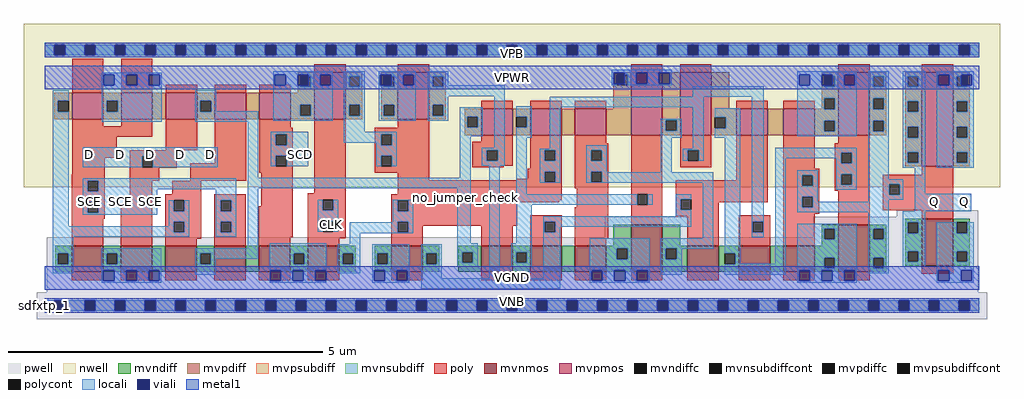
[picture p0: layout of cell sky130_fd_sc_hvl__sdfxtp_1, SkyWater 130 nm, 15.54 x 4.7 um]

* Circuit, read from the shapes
.subckt sky130_fd_sc_hvl__sdfxtp_1 CLK D SCD SCE VGND VNB VPB VPWR Q
XM1 VGND SCE n1 VNB sky130_fd_pr__nfet_g5v0d10v5 w=0.42 l=0.5
XM2 n2 D VGND VNB sky130_fd_pr__nfet_g5v0d10v5 w=0.42 l=0.5
XM3 n3 n1 n2 VNB sky130_fd_pr__nfet_g5v0d10v5 w=0.42 l=0.5
XM4 n4 SCE n3 VNB sky130_fd_pr__nfet_g5v0d10v5 w=0.42 l=0.5
XM5 VGND SCD n4 VNB sky130_fd_pr__nfet_g5v0d10v5 w=0.42 l=0.5
XM6 n5 CLK VGND VNB sky130_fd_pr__nfet_g5v0d10v5 w=0.42 l=0.5
XM7 n6 n5 VGND VNB sky130_fd_pr__nfet_g5v0d10v5 w=0.42 l=0.5
XM8 n7 n5 n3 VNB sky130_fd_pr__nfet_g5v0d10v5 w=0.42 l=0.5
XM9 n8 n6 n7 VNB sky130_fd_pr__nfet_g5v0d10v5 w=0.42 l=0.5
XM10 VGND n9 n8 VNB sky130_fd_pr__nfet_g5v0d10v5 w=0.42 l=0.5
XM11 n9 n7 VGND VNB sky130_fd_pr__nfet_g5v0d10v5 w=0.75 l=0.5
XM12 n10 n6 n9 VNB sky130_fd_pr__nfet_g5v0d10v5 w=0.42 l=0.5
XM13 n11 n5 n10 VNB sky130_fd_pr__nfet_g5v0d10v5 w=0.42 l=0.5
XM14 VGND n12 n11 VNB sky130_fd_pr__nfet_g5v0d10v5 w=0.42 l=0.5
XM15 n12 n10 VGND VNB sky130_fd_pr__nfet_g5v0d10v5 w=0.75 l=0.5
XM16 VGND n12 Q VNB sky130_fd_pr__nfet_g5v0d10v5 w=0.75 l=0.5
XM17 VPWR SCE n1 VPB sky130_fd_pr__pfet_g5v0d10v5 w=0.42 l=0.5
XM18 n13 SCE VPWR VPB sky130_fd_pr__pfet_g5v0d10v5 w=0.42 l=0.5
XM19 n3 D n13 VPB sky130_fd_pr__pfet_g5v0d10v5 w=0.42 l=0.5
XM20 n14 n1 n3 VPB sky130_fd_pr__pfet_g5v0d10v5 w=0.42 l=0.5
XM21 VPWR SCD n14 VPB sky130_fd_pr__pfet_g5v0d10v5 w=0.42 l=0.5
XM22 n5 CLK VPWR VPB sky130_fd_pr__pfet_g5v0d10v5 w=0.75 l=0.5
XM23 n6 n5 VPWR VPB sky130_fd_pr__pfet_g5v0d10v5 w=0.75 l=0.5
XM24 n7 n6 n3 VPB sky130_fd_pr__pfet_g5v0d10v5 w=0.42 l=0.5
XM25 n15 n5 n7 VPB sky130_fd_pr__pfet_g5v0d10v5 w=0.42 l=0.5
XM26 VPWR n9 n15 VPB sky130_fd_pr__pfet_g5v0d10v5 w=0.42 l=0.5
XM27 n9 n7 VPWR VPB sky130_fd_pr__pfet_g5v0d10v5 w=1 l=0.5
XM28 n10 n5 n9 VPB sky130_fd_pr__pfet_g5v0d10v5 w=1 l=0.5
XM29 n16 n6 n10 VPB sky130_fd_pr__pfet_g5v0d10v5 w=0.42 l=0.5
XM30 VPWR n12 n16 VPB sky130_fd_pr__pfet_g5v0d10v5 w=0.42 l=0.5
XM31 n12 n10 VPWR VPB sky130_fd_pr__pfet_g5v0d10v5 w=1 l=0.5
XM32 VPWR n12 Q VPB sky130_fd_pr__pfet_g5v0d10v5 w=1.5 l=0.5
.ends

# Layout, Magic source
magic
tech sky130B
magscale 1 2
<< nwell >>
rect -66 377 3042 897
<< pwell >>
rect 2714 283 2972 303
rect 1784 217 2050 283
rect 2448 217 2972 283
rect 7 43 2972 217
rect -26 -43 3002 43
<< mvnmos >>
rect 86 107 186 191
rect 242 107 342 191
rect 384 107 484 191
rect 540 107 640 191
rect 682 107 782 191
rect 838 107 938 191
rect 1104 107 1204 191
rect 1390 107 1490 191
rect 1546 107 1646 191
rect 1688 107 1788 191
rect 1867 107 1967 257
rect 2046 107 2146 191
rect 2210 107 2310 191
rect 2352 107 2452 191
rect 2527 107 2627 257
rect 2793 127 2893 277
<< mvpmos >>
rect 87 593 187 677
rect 243 593 343 677
rect 385 593 485 677
rect 541 593 641 677
rect 683 593 783 677
rect 858 593 958 743
rect 1124 593 1224 743
rect 1390 543 1490 627
rect 1546 543 1646 627
rect 1688 543 1788 627
rect 1867 543 1967 743
rect 2023 543 2123 743
rect 2202 543 2302 627
rect 2352 543 2452 627
rect 2527 543 2627 743
rect 2793 443 2893 743
<< mvndiff >>
rect 1810 191 1867 257
rect 33 166 86 191
rect 33 132 41 166
rect 75 132 86 166
rect 33 107 86 132
rect 186 166 242 191
rect 186 132 197 166
rect 231 132 242 166
rect 186 107 242 132
rect 342 107 384 191
rect 484 166 540 191
rect 484 132 495 166
rect 529 132 540 166
rect 484 107 540 132
rect 640 107 682 191
rect 782 166 838 191
rect 782 132 793 166
rect 827 132 838 166
rect 782 107 838 132
rect 938 166 991 191
rect 938 132 949 166
rect 983 132 991 166
rect 938 107 991 132
rect 1051 166 1104 191
rect 1051 132 1059 166
rect 1093 132 1104 166
rect 1051 107 1104 132
rect 1204 166 1257 191
rect 1204 132 1215 166
rect 1249 132 1257 166
rect 1204 107 1257 132
rect 1317 170 1390 191
rect 1317 136 1329 170
rect 1363 136 1390 170
rect 1317 107 1390 136
rect 1490 170 1546 191
rect 1490 136 1501 170
rect 1535 136 1546 170
rect 1490 107 1546 136
rect 1646 107 1688 191
rect 1788 182 1867 191
rect 1788 148 1822 182
rect 1856 148 1867 182
rect 1788 107 1867 148
rect 1967 191 2024 257
rect 2740 265 2793 277
rect 2474 245 2527 257
rect 2474 211 2482 245
rect 2516 211 2527 245
rect 2474 191 2527 211
rect 1967 182 2046 191
rect 1967 148 1978 182
rect 2012 148 2046 182
rect 1967 107 2046 148
rect 2146 166 2210 191
rect 2146 132 2165 166
rect 2199 132 2210 166
rect 2146 107 2210 132
rect 2310 107 2352 191
rect 2452 153 2527 191
rect 2452 119 2482 153
rect 2516 119 2527 153
rect 2452 107 2527 119
rect 2627 245 2680 257
rect 2627 211 2638 245
rect 2672 211 2680 245
rect 2627 153 2680 211
rect 2627 119 2638 153
rect 2672 119 2680 153
rect 2740 231 2748 265
rect 2782 231 2793 265
rect 2740 173 2793 231
rect 2740 139 2748 173
rect 2782 139 2793 173
rect 2740 127 2793 139
rect 2893 265 2946 277
rect 2893 231 2904 265
rect 2938 231 2946 265
rect 2893 173 2946 231
rect 2893 139 2904 173
rect 2938 139 2946 173
rect 2893 127 2946 139
rect 2627 107 2680 119
<< mvpdiff >>
rect 805 731 858 743
rect 805 697 813 731
rect 847 697 858 731
rect 805 677 858 697
rect 30 652 87 677
rect 30 618 42 652
rect 76 618 87 652
rect 30 593 87 618
rect 187 652 243 677
rect 187 618 198 652
rect 232 618 243 652
rect 187 593 243 618
rect 343 593 385 677
rect 485 652 541 677
rect 485 618 496 652
rect 530 618 541 652
rect 485 593 541 618
rect 641 593 683 677
rect 783 639 858 677
rect 783 605 813 639
rect 847 605 858 639
rect 783 593 858 605
rect 958 731 1011 743
rect 958 697 969 731
rect 1003 697 1011 731
rect 958 639 1011 697
rect 958 605 969 639
rect 1003 605 1011 639
rect 958 593 1011 605
rect 1071 731 1124 743
rect 1071 697 1079 731
rect 1113 697 1124 731
rect 1071 639 1124 697
rect 1071 605 1079 639
rect 1113 605 1124 639
rect 1071 593 1124 605
rect 1224 731 1277 743
rect 1224 697 1235 731
rect 1269 697 1277 731
rect 1224 639 1277 697
rect 1810 735 1867 743
rect 1810 701 1822 735
rect 1856 701 1867 735
rect 1224 605 1235 639
rect 1269 605 1277 639
rect 1810 627 1867 701
rect 1224 593 1277 605
rect 1337 602 1390 627
rect 1337 568 1345 602
rect 1379 568 1390 602
rect 1337 543 1390 568
rect 1490 602 1546 627
rect 1490 568 1501 602
rect 1535 568 1546 602
rect 1490 543 1546 568
rect 1646 543 1688 627
rect 1788 543 1867 627
rect 1967 590 2023 743
rect 1967 556 1978 590
rect 2012 556 2023 590
rect 1967 543 2023 556
rect 2123 627 2180 743
rect 2474 731 2527 743
rect 2474 697 2482 731
rect 2516 697 2527 731
rect 2474 660 2527 697
rect 2474 627 2482 660
rect 2123 599 2202 627
rect 2123 565 2134 599
rect 2168 565 2202 599
rect 2123 543 2202 565
rect 2302 543 2352 627
rect 2452 626 2482 627
rect 2516 626 2527 660
rect 2452 589 2527 626
rect 2452 555 2482 589
rect 2516 555 2527 589
rect 2452 543 2527 555
rect 2627 731 2680 743
rect 2627 697 2638 731
rect 2672 697 2680 731
rect 2627 660 2680 697
rect 2627 626 2638 660
rect 2672 626 2680 660
rect 2627 589 2680 626
rect 2627 555 2638 589
rect 2672 555 2680 589
rect 2627 543 2680 555
rect 2740 731 2793 743
rect 2740 697 2748 731
rect 2782 697 2793 731
rect 2740 651 2793 697
rect 2740 617 2748 651
rect 2782 617 2793 651
rect 2740 569 2793 617
rect 2740 535 2748 569
rect 2782 535 2793 569
rect 2740 489 2793 535
rect 2740 455 2748 489
rect 2782 455 2793 489
rect 2740 443 2793 455
rect 2893 731 2946 743
rect 2893 697 2904 731
rect 2938 697 2946 731
rect 2893 651 2946 697
rect 2893 617 2904 651
rect 2938 617 2946 651
rect 2893 569 2946 617
rect 2893 535 2904 569
rect 2938 535 2946 569
rect 2893 489 2946 535
rect 2893 455 2904 489
rect 2938 455 2946 489
rect 2893 443 2946 455
<< mvndiffc >>
rect 41 132 75 166
rect 197 132 231 166
rect 495 132 529 166
rect 793 132 827 166
rect 949 132 983 166
rect 1059 132 1093 166
rect 1215 132 1249 166
rect 1329 136 1363 170
rect 1501 136 1535 170
rect 1822 148 1856 182
rect 2482 211 2516 245
rect 1978 148 2012 182
rect 2165 132 2199 166
rect 2482 119 2516 153
rect 2638 211 2672 245
rect 2638 119 2672 153
rect 2748 231 2782 265
rect 2748 139 2782 173
rect 2904 231 2938 265
rect 2904 139 2938 173
<< mvpdiffc >>
rect 813 697 847 731
rect 42 618 76 652
rect 198 618 232 652
rect 496 618 530 652
rect 813 605 847 639
rect 969 697 1003 731
rect 969 605 1003 639
rect 1079 697 1113 731
rect 1079 605 1113 639
rect 1235 697 1269 731
rect 1822 701 1856 735
rect 1235 605 1269 639
rect 1345 568 1379 602
rect 1501 568 1535 602
rect 1978 556 2012 590
rect 2482 697 2516 731
rect 2134 565 2168 599
rect 2482 626 2516 660
rect 2482 555 2516 589
rect 2638 697 2672 731
rect 2638 626 2672 660
rect 2638 555 2672 589
rect 2748 697 2782 731
rect 2748 617 2782 651
rect 2748 535 2782 569
rect 2748 455 2782 489
rect 2904 697 2938 731
rect 2904 617 2938 651
rect 2904 535 2938 569
rect 2904 455 2938 489
<< mvpsubdiff >>
rect 0 -17 31 17
rect 65 -17 127 17
rect 161 -17 223 17
rect 257 -17 319 17
rect 353 -17 415 17
rect 449 -17 511 17
rect 545 -17 607 17
rect 641 -17 703 17
rect 737 -17 799 17
rect 833 -17 895 17
rect 929 -17 991 17
rect 1025 -17 1087 17
rect 1121 -17 1183 17
rect 1217 -17 1279 17
rect 1313 -17 1375 17
rect 1409 -17 1471 17
rect 1505 -17 1567 17
rect 1601 -17 1663 17
rect 1697 -17 1759 17
rect 1793 -17 1855 17
rect 1889 -17 1951 17
rect 1985 -17 2047 17
rect 2081 -17 2143 17
rect 2177 -17 2239 17
rect 2273 -17 2335 17
rect 2369 -17 2431 17
rect 2465 -17 2527 17
rect 2561 -17 2623 17
rect 2657 -17 2719 17
rect 2753 -17 2815 17
rect 2849 -17 2911 17
rect 2945 -17 2976 17
<< mvnsubdiff >>
rect 0 797 31 831
rect 65 797 127 831
rect 161 797 223 831
rect 257 797 319 831
rect 353 797 415 831
rect 449 797 511 831
rect 545 797 607 831
rect 641 797 703 831
rect 737 797 799 831
rect 833 797 895 831
rect 929 797 991 831
rect 1025 797 1087 831
rect 1121 797 1183 831
rect 1217 797 1279 831
rect 1313 797 1375 831
rect 1409 797 1471 831
rect 1505 797 1567 831
rect 1601 797 1663 831
rect 1697 797 1759 831
rect 1793 797 1855 831
rect 1889 797 1951 831
rect 1985 797 2047 831
rect 2081 797 2143 831
rect 2177 797 2239 831
rect 2273 797 2335 831
rect 2369 797 2431 831
rect 2465 797 2527 831
rect 2561 797 2623 831
rect 2657 797 2719 831
rect 2753 797 2815 831
rect 2849 797 2911 831
rect 2945 797 2976 831
<< mvpsubdiffcont >>
rect 31 -17 65 17
rect 127 -17 161 17
rect 223 -17 257 17
rect 319 -17 353 17
rect 415 -17 449 17
rect 511 -17 545 17
rect 607 -17 641 17
rect 703 -17 737 17
rect 799 -17 833 17
rect 895 -17 929 17
rect 991 -17 1025 17
rect 1087 -17 1121 17
rect 1183 -17 1217 17
rect 1279 -17 1313 17
rect 1375 -17 1409 17
rect 1471 -17 1505 17
rect 1567 -17 1601 17
rect 1663 -17 1697 17
rect 1759 -17 1793 17
rect 1855 -17 1889 17
rect 1951 -17 1985 17
rect 2047 -17 2081 17
rect 2143 -17 2177 17
rect 2239 -17 2273 17
rect 2335 -17 2369 17
rect 2431 -17 2465 17
rect 2527 -17 2561 17
rect 2623 -17 2657 17
rect 2719 -17 2753 17
rect 2815 -17 2849 17
rect 2911 -17 2945 17
<< mvnsubdiffcont >>
rect 31 797 65 831
rect 127 797 161 831
rect 223 797 257 831
rect 319 797 353 831
rect 415 797 449 831
rect 511 797 545 831
rect 607 797 641 831
rect 703 797 737 831
rect 799 797 833 831
rect 895 797 929 831
rect 991 797 1025 831
rect 1087 797 1121 831
rect 1183 797 1217 831
rect 1279 797 1313 831
rect 1375 797 1409 831
rect 1471 797 1505 831
rect 1567 797 1601 831
rect 1663 797 1697 831
rect 1759 797 1793 831
rect 1855 797 1889 831
rect 1951 797 1985 831
rect 2047 797 2081 831
rect 2143 797 2177 831
rect 2239 797 2273 831
rect 2335 797 2369 831
rect 2431 797 2465 831
rect 2527 797 2561 831
rect 2623 797 2657 831
rect 2719 797 2753 831
rect 2815 797 2849 831
rect 2911 797 2945 831
<< poly >>
rect 87 677 187 786
rect 243 677 343 786
rect 858 743 958 769
rect 1124 743 1224 769
rect 1867 743 1967 769
rect 2023 743 2123 769
rect 2527 743 2627 769
rect 2793 743 2893 769
rect 385 677 485 703
rect 541 677 641 703
rect 683 677 783 703
rect 1390 627 1490 653
rect 1546 627 1646 653
rect 1688 627 1788 653
rect 87 571 187 593
rect 243 571 343 593
rect 87 537 343 571
rect 87 471 229 537
rect 385 495 485 593
rect 271 475 421 495
rect 87 418 191 471
rect 86 398 191 418
rect 86 364 137 398
rect 171 364 191 398
rect 86 330 191 364
rect 86 296 137 330
rect 171 296 191 330
rect 271 441 310 475
rect 344 441 421 475
rect 541 453 641 593
rect 271 439 421 441
rect 271 397 364 439
rect 463 397 641 453
rect 683 567 783 593
rect 683 545 790 567
rect 683 511 736 545
rect 770 511 790 545
rect 683 477 790 511
rect 683 443 736 477
rect 770 443 790 477
rect 683 423 790 443
rect 271 317 342 397
rect 406 355 498 397
rect 86 276 191 296
rect 86 191 186 276
rect 242 191 342 317
rect 384 335 498 355
rect 384 301 411 335
rect 445 301 498 335
rect 384 267 498 301
rect 384 233 411 267
rect 445 233 498 267
rect 384 213 498 233
rect 540 335 640 355
rect 540 301 560 335
rect 594 301 640 335
rect 690 317 790 423
rect 858 357 958 593
rect 1124 567 1224 593
rect 1051 545 1224 567
rect 1051 511 1071 545
rect 1105 511 1224 545
rect 2202 627 2302 653
rect 2352 627 2452 653
rect 1390 521 1490 543
rect 1051 477 1224 511
rect 1051 443 1071 477
rect 1105 443 1224 477
rect 1051 423 1224 443
rect 1362 495 1490 521
rect 1362 461 1408 495
rect 1442 461 1490 495
rect 1362 446 1490 461
rect 1546 495 1646 543
rect 1546 461 1592 495
rect 1626 461 1646 495
rect 1362 441 1462 446
rect 1546 435 1646 461
rect 540 267 640 301
rect 540 233 560 267
rect 594 233 640 267
rect 384 191 484 213
rect 540 191 640 233
rect 682 217 790 317
rect 838 337 958 357
rect 1124 399 1224 423
rect 1538 427 1646 435
rect 1538 404 1592 427
rect 1504 399 1592 404
rect 1124 393 1592 399
rect 1626 393 1646 427
rect 1124 355 1646 393
rect 1688 517 1788 543
rect 1688 495 1794 517
rect 1688 461 1740 495
rect 1774 461 1794 495
rect 1688 427 1794 461
rect 1688 393 1740 427
rect 1774 393 1794 427
rect 1688 373 1794 393
rect 838 303 885 337
rect 919 303 958 337
rect 838 269 958 303
rect 838 235 885 269
rect 919 235 958 269
rect 682 191 782 217
rect 838 215 958 235
rect 1104 335 1646 355
rect 1104 301 1124 335
rect 1158 329 1638 335
rect 1158 301 1504 329
rect 1694 313 1794 373
rect 1104 267 1504 301
rect 1104 233 1124 267
rect 1158 255 1504 267
rect 1546 267 1646 287
rect 1158 233 1204 255
rect 838 191 938 215
rect 1104 191 1204 233
rect 1390 191 1490 255
rect 1546 233 1592 267
rect 1626 233 1646 267
rect 1546 191 1646 233
rect 1688 213 1794 313
rect 1867 355 1967 543
rect 2023 495 2123 543
rect 2023 461 2048 495
rect 2082 461 2123 495
rect 2023 441 2123 461
rect 2202 399 2302 543
rect 1867 321 1887 355
rect 1921 321 1967 355
rect 1867 257 1967 321
rect 2009 339 2302 399
rect 2009 305 2025 339
rect 2059 329 2302 339
rect 2352 435 2452 543
rect 2527 517 2627 543
rect 2516 487 2627 517
rect 2516 453 2536 487
rect 2570 453 2627 487
rect 2352 415 2466 435
rect 2352 381 2412 415
rect 2446 381 2466 415
rect 2352 347 2466 381
rect 2516 419 2627 453
rect 2516 385 2536 419
rect 2570 385 2627 419
rect 2793 417 2893 443
rect 2516 365 2627 385
rect 2059 305 2146 329
rect 2009 285 2146 305
rect 2352 313 2412 347
rect 2446 313 2466 347
rect 2352 293 2466 313
rect 1688 191 1788 213
rect 2046 191 2146 285
rect 2210 267 2310 287
rect 2210 233 2254 267
rect 2288 233 2310 267
rect 2210 191 2310 233
rect 2352 191 2452 293
rect 2527 257 2627 365
rect 2669 387 2893 417
rect 2669 353 2689 387
rect 2723 353 2893 387
rect 2669 303 2893 353
rect 2793 277 2893 303
rect 86 81 186 107
rect 242 81 342 107
rect 384 81 484 107
rect 540 81 640 107
rect 682 81 782 107
rect 838 81 938 107
rect 1104 81 1204 107
rect 1390 81 1490 107
rect 1546 81 1646 107
rect 1688 81 1788 107
rect 1867 81 1967 107
rect 2046 81 2146 107
rect 2210 81 2310 107
rect 2352 81 2452 107
rect 2527 81 2627 107
rect 2793 101 2893 127
<< polycont >>
rect 137 364 171 398
rect 137 296 171 330
rect 310 441 344 475
rect 736 511 770 545
rect 736 443 770 477
rect 411 301 445 335
rect 411 233 445 267
rect 560 301 594 335
rect 1071 511 1105 545
rect 1071 443 1105 477
rect 1408 461 1442 495
rect 1592 461 1626 495
rect 560 233 594 267
rect 1592 393 1626 427
rect 1740 461 1774 495
rect 1740 393 1774 427
rect 885 303 919 337
rect 885 235 919 269
rect 1124 301 1158 335
rect 1124 233 1158 267
rect 1592 233 1626 267
rect 2048 461 2082 495
rect 1887 321 1921 355
rect 2025 305 2059 339
rect 2536 453 2570 487
rect 2412 381 2446 415
rect 2536 385 2570 419
rect 2412 313 2446 347
rect 2254 233 2288 267
rect 2689 353 2723 387
<< locali >>
rect 0 797 31 831
rect 65 797 127 831
rect 161 797 223 831
rect 257 797 319 831
rect 353 797 415 831
rect 449 797 511 831
rect 545 797 607 831
rect 641 797 703 831
rect 737 797 799 831
rect 833 797 895 831
rect 929 797 991 831
rect 1025 797 1087 831
rect 1121 797 1183 831
rect 1217 797 1279 831
rect 1313 797 1375 831
rect 1409 797 1471 831
rect 1505 797 1567 831
rect 1601 797 1663 831
rect 1697 797 1759 831
rect 1793 797 1855 831
rect 1889 797 1951 831
rect 1985 797 2047 831
rect 2081 797 2143 831
rect 2177 797 2239 831
rect 2273 797 2335 831
rect 2369 797 2431 831
rect 2465 797 2527 831
rect 2561 797 2623 831
rect 2657 797 2719 831
rect 2753 797 2815 831
rect 2849 797 2911 831
rect 2945 797 2976 831
rect 182 735 372 741
rect 182 701 188 735
rect 222 701 260 735
rect 294 701 332 735
rect 366 701 372 735
rect 25 652 76 685
rect 25 618 42 652
rect 25 253 76 618
rect 182 652 372 701
rect 727 735 917 747
rect 727 701 733 735
rect 767 701 805 735
rect 839 731 877 735
rect 847 701 877 731
rect 911 701 917 735
rect 727 697 813 701
rect 847 697 917 701
rect 182 618 198 652
rect 232 618 372 652
rect 182 585 372 618
rect 480 652 546 685
rect 480 618 496 652
rect 530 619 546 652
rect 727 639 917 697
rect 530 618 680 619
rect 480 585 680 618
rect 727 605 813 639
rect 847 605 917 639
rect 727 589 917 605
rect 953 731 1019 747
rect 953 697 969 731
rect 1003 697 1019 731
rect 953 639 1019 697
rect 953 605 969 639
rect 1003 605 1019 639
rect 121 475 551 504
rect 121 441 310 475
rect 344 441 551 475
rect 646 407 680 585
rect 953 553 1019 605
rect 1063 735 1181 747
rect 1063 701 1069 735
rect 1103 731 1141 735
rect 1113 701 1141 731
rect 1175 701 1181 735
rect 1063 697 1079 701
rect 1113 697 1181 701
rect 1063 639 1181 697
rect 1063 605 1079 639
rect 1113 605 1181 639
rect 1063 589 1181 605
rect 1219 731 1285 747
rect 1219 697 1235 731
rect 1269 701 1285 731
rect 1806 741 1996 751
rect 1806 707 1812 741
rect 1846 735 1884 741
rect 1856 707 1884 735
rect 1918 707 1956 741
rect 1990 707 1996 741
rect 1806 701 1822 707
rect 1856 701 1996 707
rect 2396 735 2586 747
rect 2396 701 2402 735
rect 2436 701 2474 735
rect 2508 731 2546 735
rect 2516 701 2546 731
rect 2580 701 2586 735
rect 1269 697 1465 701
rect 1219 667 1465 697
rect 1219 639 1285 667
rect 1219 605 1235 639
rect 1269 605 1285 639
rect 1219 589 1285 605
rect 1322 602 1395 631
rect 1322 568 1345 602
rect 1379 568 1395 602
rect 720 545 839 553
rect 720 511 736 545
rect 770 511 839 545
rect 953 545 1121 553
rect 953 519 1071 545
rect 720 477 839 511
rect 720 443 736 477
rect 770 443 839 477
rect 1055 511 1071 519
rect 1105 511 1121 545
rect 1055 477 1121 511
rect 1055 443 1071 477
rect 1105 443 1121 477
rect 1322 539 1395 568
rect 1322 407 1356 539
rect 1431 503 1465 667
rect 2064 665 2290 699
rect 1392 495 1465 503
rect 1392 461 1408 495
rect 1442 461 1465 495
rect 1392 445 1465 461
rect 1501 602 1551 635
rect 1535 568 1551 602
rect 1501 535 1551 568
rect 1608 631 2098 665
rect 121 398 610 405
rect 121 364 137 398
rect 171 371 610 398
rect 171 364 359 371
rect 121 330 359 364
rect 544 335 610 371
rect 121 296 137 330
rect 171 296 359 330
rect 121 289 359 296
rect 395 301 411 335
rect 445 301 461 335
rect 395 267 461 301
rect 395 253 411 267
rect 25 233 411 253
rect 445 233 461 267
rect 25 219 461 233
rect 544 301 560 335
rect 594 301 610 335
rect 544 267 610 301
rect 544 233 560 267
rect 594 233 610 267
rect 544 219 610 233
rect 646 373 1356 407
rect 25 166 91 219
rect 646 183 680 373
rect 869 303 885 337
rect 919 303 935 337
rect 869 269 935 303
rect 869 235 885 269
rect 919 235 935 269
rect 1108 335 1174 337
rect 1108 301 1124 335
rect 1158 301 1174 335
rect 1108 267 1174 301
rect 1108 265 1124 267
rect 971 233 1124 265
rect 1158 233 1174 267
rect 971 231 1174 233
rect 25 132 41 166
rect 75 132 91 166
rect 25 103 91 132
rect 181 166 371 183
rect 181 132 197 166
rect 231 132 371 166
rect 181 113 371 132
rect 181 79 187 113
rect 221 79 259 113
rect 293 79 331 113
rect 365 79 371 113
rect 479 166 680 183
rect 479 132 495 166
rect 529 149 680 166
rect 716 166 897 199
rect 971 195 1005 231
rect 1313 199 1356 373
rect 529 132 545 149
rect 479 99 545 132
rect 716 132 793 166
rect 827 132 897 166
rect 716 113 897 132
rect 181 73 371 79
rect 716 79 718 113
rect 752 79 790 113
rect 824 79 862 113
rect 896 79 897 113
rect 933 166 1005 195
rect 933 132 949 166
rect 983 132 1005 166
rect 933 103 1005 132
rect 1043 166 1161 195
rect 1043 132 1059 166
rect 1093 132 1161 166
rect 1043 113 1161 132
rect 716 73 897 79
rect 1043 79 1049 113
rect 1083 79 1121 113
rect 1155 79 1161 113
rect 1043 73 1161 79
rect 1199 166 1265 195
rect 1199 132 1215 166
rect 1249 132 1265 166
rect 1199 87 1265 132
rect 1313 170 1379 199
rect 1313 136 1329 170
rect 1363 136 1379 170
rect 1313 123 1379 136
rect 1415 87 1449 445
rect 1501 355 1535 535
rect 1608 499 1642 631
rect 1962 590 2028 595
rect 1962 556 1978 590
rect 2012 556 2028 590
rect 1962 535 2028 556
rect 1576 495 1642 499
rect 1576 461 1592 495
rect 1626 461 1642 495
rect 1576 427 1642 461
rect 1576 393 1592 427
rect 1626 393 1642 427
rect 1576 391 1642 393
rect 1724 495 1790 511
rect 1724 461 1740 495
rect 1774 461 1790 495
rect 1724 427 1790 461
rect 1724 393 1740 427
rect 1774 425 1790 427
rect 1962 425 1996 535
rect 2064 499 2098 631
rect 2134 599 2215 629
rect 2168 565 2215 599
rect 2134 535 2215 565
rect 2032 495 2098 499
rect 2032 461 2048 495
rect 2082 461 2098 495
rect 1774 393 2129 425
rect 1724 391 2129 393
rect 1501 321 1887 355
rect 1921 321 1937 355
rect 2009 339 2059 355
rect 1501 199 1551 321
rect 2009 305 2025 339
rect 2009 285 2059 305
rect 1485 170 1551 199
rect 1485 136 1501 170
rect 1535 136 1551 170
rect 1485 123 1551 136
rect 1587 267 2059 285
rect 1587 233 1592 267
rect 1626 251 2059 267
rect 1626 233 1642 251
rect 1587 87 1642 233
rect 2095 215 2129 391
rect 1199 53 1642 87
rect 1736 182 1926 215
rect 1736 148 1822 182
rect 1856 148 1926 182
rect 1736 113 1926 148
rect 1736 79 1742 113
rect 1776 79 1814 113
rect 1848 79 1886 113
rect 1920 79 1926 113
rect 1962 182 2129 215
rect 1962 148 1978 182
rect 2012 181 2129 182
rect 2012 148 2028 181
rect 1962 99 2028 148
rect 2165 166 2215 535
rect 2251 267 2290 665
rect 2396 697 2482 701
rect 2516 697 2586 701
rect 2396 660 2586 697
rect 2396 626 2482 660
rect 2516 626 2586 660
rect 2396 589 2586 626
rect 2396 555 2482 589
rect 2516 555 2586 589
rect 2396 539 2586 555
rect 2622 731 2688 747
rect 2622 697 2638 731
rect 2672 697 2688 731
rect 2622 660 2688 697
rect 2622 626 2638 660
rect 2672 626 2688 660
rect 2622 589 2688 626
rect 2622 555 2638 589
rect 2672 555 2688 589
rect 2251 233 2254 267
rect 2288 233 2290 267
rect 2251 217 2290 233
rect 2326 487 2586 503
rect 2326 469 2536 487
rect 2199 133 2215 166
rect 2326 133 2360 469
rect 2520 453 2536 469
rect 2570 453 2586 487
rect 2396 415 2462 431
rect 2396 381 2412 415
rect 2446 381 2462 415
rect 2396 347 2462 381
rect 2520 419 2586 453
rect 2520 385 2536 419
rect 2570 385 2586 419
rect 2520 369 2586 385
rect 2622 403 2688 555
rect 2732 731 2804 747
rect 2732 697 2748 731
rect 2782 697 2804 731
rect 2732 651 2804 697
rect 2732 617 2748 651
rect 2782 617 2804 651
rect 2732 569 2804 617
rect 2732 535 2748 569
rect 2782 535 2804 569
rect 2732 489 2804 535
rect 2732 455 2748 489
rect 2782 455 2804 489
rect 2732 439 2804 455
rect 2840 735 2958 747
rect 2840 701 2846 735
rect 2880 731 2918 735
rect 2880 701 2904 731
rect 2952 701 2958 735
rect 2840 697 2904 701
rect 2938 697 2958 701
rect 2840 651 2958 697
rect 2840 617 2904 651
rect 2938 617 2958 651
rect 2840 569 2958 617
rect 2840 535 2904 569
rect 2938 535 2958 569
rect 2840 489 2958 535
rect 2840 455 2904 489
rect 2938 455 2958 489
rect 2840 439 2958 455
rect 2622 387 2734 403
rect 2396 313 2412 347
rect 2446 331 2462 347
rect 2622 353 2689 387
rect 2723 353 2734 387
rect 2622 337 2734 353
rect 2770 356 2804 439
rect 2622 331 2688 337
rect 2446 313 2688 331
rect 2396 297 2688 313
rect 2770 301 2951 356
rect 2199 132 2360 133
rect 2165 99 2360 132
rect 2396 245 2586 261
rect 2396 211 2482 245
rect 2516 211 2586 245
rect 2396 153 2586 211
rect 2396 119 2482 153
rect 2516 119 2586 153
rect 2396 113 2586 119
rect 1736 73 1926 79
rect 2396 79 2402 113
rect 2436 79 2474 113
rect 2508 79 2546 113
rect 2580 79 2586 113
rect 2622 245 2688 297
rect 2622 211 2638 245
rect 2672 211 2688 245
rect 2622 153 2688 211
rect 2622 119 2638 153
rect 2672 119 2688 153
rect 2732 265 2804 301
rect 2732 231 2748 265
rect 2782 231 2804 265
rect 2732 173 2804 231
rect 2732 139 2748 173
rect 2782 139 2804 173
rect 2732 123 2804 139
rect 2840 231 2904 265
rect 2938 231 2958 265
rect 2840 173 2958 231
rect 2840 139 2904 173
rect 2938 139 2958 173
rect 2622 103 2688 119
rect 2840 113 2958 139
rect 2396 73 2586 79
rect 2840 79 2846 113
rect 2880 79 2918 113
rect 2952 79 2958 113
rect 2840 73 2958 79
rect 0 -17 31 17
rect 65 -17 127 17
rect 161 -17 223 17
rect 257 -17 319 17
rect 353 -17 415 17
rect 449 -17 511 17
rect 545 -17 607 17
rect 641 -17 703 17
rect 737 -17 799 17
rect 833 -17 895 17
rect 929 -17 991 17
rect 1025 -17 1087 17
rect 1121 -17 1183 17
rect 1217 -17 1279 17
rect 1313 -17 1375 17
rect 1409 -17 1471 17
rect 1505 -17 1567 17
rect 1601 -17 1663 17
rect 1697 -17 1759 17
rect 1793 -17 1855 17
rect 1889 -17 1951 17
rect 1985 -17 2047 17
rect 2081 -17 2143 17
rect 2177 -17 2239 17
rect 2273 -17 2335 17
rect 2369 -17 2431 17
rect 2465 -17 2527 17
rect 2561 -17 2623 17
rect 2657 -17 2719 17
rect 2753 -17 2815 17
rect 2849 -17 2911 17
rect 2945 -17 2976 17
<< viali >>
rect 31 797 65 831
rect 127 797 161 831
rect 223 797 257 831
rect 319 797 353 831
rect 415 797 449 831
rect 511 797 545 831
rect 607 797 641 831
rect 703 797 737 831
rect 799 797 833 831
rect 895 797 929 831
rect 991 797 1025 831
rect 1087 797 1121 831
rect 1183 797 1217 831
rect 1279 797 1313 831
rect 1375 797 1409 831
rect 1471 797 1505 831
rect 1567 797 1601 831
rect 1663 797 1697 831
rect 1759 797 1793 831
rect 1855 797 1889 831
rect 1951 797 1985 831
rect 2047 797 2081 831
rect 2143 797 2177 831
rect 2239 797 2273 831
rect 2335 797 2369 831
rect 2431 797 2465 831
rect 2527 797 2561 831
rect 2623 797 2657 831
rect 2719 797 2753 831
rect 2815 797 2849 831
rect 2911 797 2945 831
rect 188 701 222 735
rect 260 701 294 735
rect 332 701 366 735
rect 733 701 767 735
rect 805 731 839 735
rect 805 701 813 731
rect 813 701 839 731
rect 877 701 911 735
rect 1069 731 1103 735
rect 1069 701 1079 731
rect 1079 701 1103 731
rect 1141 701 1175 735
rect 1812 735 1846 741
rect 1812 707 1822 735
rect 1822 707 1846 735
rect 1884 707 1918 741
rect 1956 707 1990 741
rect 2402 701 2436 735
rect 2474 731 2508 735
rect 2474 701 2482 731
rect 2482 701 2508 731
rect 2546 701 2580 735
rect 187 79 221 113
rect 259 79 293 113
rect 331 79 365 113
rect 718 79 752 113
rect 790 79 824 113
rect 862 79 896 113
rect 1049 79 1083 113
rect 1121 79 1155 113
rect 1742 79 1776 113
rect 1814 79 1848 113
rect 1886 79 1920 113
rect 2846 701 2880 735
rect 2918 731 2952 735
rect 2918 701 2938 731
rect 2938 701 2952 731
rect 2402 79 2436 113
rect 2474 79 2508 113
rect 2546 79 2580 113
rect 2846 79 2880 113
rect 2918 79 2952 113
rect 31 -17 65 17
rect 127 -17 161 17
rect 223 -17 257 17
rect 319 -17 353 17
rect 415 -17 449 17
rect 511 -17 545 17
rect 607 -17 641 17
rect 703 -17 737 17
rect 799 -17 833 17
rect 895 -17 929 17
rect 991 -17 1025 17
rect 1087 -17 1121 17
rect 1183 -17 1217 17
rect 1279 -17 1313 17
rect 1375 -17 1409 17
rect 1471 -17 1505 17
rect 1567 -17 1601 17
rect 1663 -17 1697 17
rect 1759 -17 1793 17
rect 1855 -17 1889 17
rect 1951 -17 1985 17
rect 2047 -17 2081 17
rect 2143 -17 2177 17
rect 2239 -17 2273 17
rect 2335 -17 2369 17
rect 2431 -17 2465 17
rect 2527 -17 2561 17
rect 2623 -17 2657 17
rect 2719 -17 2753 17
rect 2815 -17 2849 17
rect 2911 -17 2945 17
<< metal1 >>
rect 0 831 2976 837
rect 0 797 31 831
rect 65 797 127 831
rect 161 797 223 831
rect 257 797 319 831
rect 353 797 415 831
rect 449 797 511 831
rect 545 797 607 831
rect 641 797 703 831
rect 737 797 799 831
rect 833 797 895 831
rect 929 797 991 831
rect 1025 797 1087 831
rect 1121 797 1183 831
rect 1217 797 1279 831
rect 1313 797 1375 831
rect 1409 797 1471 831
rect 1505 797 1567 831
rect 1601 797 1663 831
rect 1697 797 1759 831
rect 1793 797 1855 831
rect 1889 797 1951 831
rect 1985 797 2047 831
rect 2081 797 2143 831
rect 2177 797 2239 831
rect 2273 797 2335 831
rect 2369 797 2431 831
rect 2465 797 2527 831
rect 2561 797 2623 831
rect 2657 797 2719 831
rect 2753 797 2815 831
rect 2849 797 2911 831
rect 2945 797 2976 831
rect 0 791 2976 797
rect 0 741 2976 763
rect 0 735 1812 741
rect 0 701 188 735
rect 222 701 260 735
rect 294 701 332 735
rect 366 701 733 735
rect 767 701 805 735
rect 839 701 877 735
rect 911 701 1069 735
rect 1103 701 1141 735
rect 1175 707 1812 735
rect 1846 707 1884 741
rect 1918 707 1956 741
rect 1990 735 2976 741
rect 1990 707 2402 735
rect 1175 701 2402 707
rect 2436 701 2474 735
rect 2508 701 2546 735
rect 2580 701 2846 735
rect 2880 701 2918 735
rect 2952 701 2976 735
rect 0 689 2976 701
rect 0 113 2976 125
rect 0 79 187 113
rect 221 79 259 113
rect 293 79 331 113
rect 365 79 718 113
rect 752 79 790 113
rect 824 79 862 113
rect 896 79 1049 113
rect 1083 79 1121 113
rect 1155 79 1742 113
rect 1776 79 1814 113
rect 1848 79 1886 113
rect 1920 79 2402 113
rect 2436 79 2474 113
rect 2508 79 2546 113
rect 2580 79 2846 113
rect 2880 79 2918 113
rect 2952 79 2976 113
rect 0 51 2976 79
rect 0 17 2976 23
rect 0 -17 31 17
rect 65 -17 127 17
rect 161 -17 223 17
rect 257 -17 319 17
rect 353 -17 415 17
rect 449 -17 511 17
rect 545 -17 607 17
rect 641 -17 703 17
rect 737 -17 799 17
rect 833 -17 895 17
rect 929 -17 991 17
rect 1025 -17 1087 17
rect 1121 -17 1183 17
rect 1217 -17 1279 17
rect 1313 -17 1375 17
rect 1409 -17 1471 17
rect 1505 -17 1567 17
rect 1601 -17 1663 17
rect 1697 -17 1759 17
rect 1793 -17 1855 17
rect 1889 -17 1951 17
rect 1985 -17 2047 17
rect 2081 -17 2143 17
rect 2177 -17 2239 17
rect 2273 -17 2335 17
rect 2369 -17 2431 17
rect 2465 -17 2527 17
rect 2561 -17 2623 17
rect 2657 -17 2719 17
rect 2753 -17 2815 17
rect 2849 -17 2911 17
rect 2945 -17 2976 17
rect 0 -23 2976 -17
<< labels >>
flabel comment s 1340 344 1340 344 0 FreeSans 200 0 0 0 no_jumper_check
rlabel comment s 0 0 0 0 4 sdfxtp_1
flabel metal1 s 0 51 2976 125 0 FreeSans 340 0 0 0 VGND
port 5 nsew ground bidirectional
flabel metal1 s 0 0 2976 23 0 FreeSans 340 0 0 0 VNB
port 6 nsew ground bidirectional
flabel metal1 s 0 689 2976 763 0 FreeSans 340 0 0 0 VPWR
port 8 nsew power bidirectional
flabel metal1 s 0 791 2976 814 0 FreeSans 340 0 0 0 VPB
port 7 nsew power bidirectional
flabel locali s 511 464 545 498 0 FreeSans 340 180 0 0 D
port 2 nsew signal input
flabel locali s 415 464 449 498 0 FreeSans 340 180 0 0 D
port 2 nsew signal input
flabel locali s 319 464 353 498 0 FreeSans 340 180 0 0 D
port 2 nsew signal input
flabel locali s 223 464 257 498 0 FreeSans 340 180 0 0 D
port 2 nsew signal input
flabel locali s 127 464 161 498 0 FreeSans 340 180 0 0 D
port 2 nsew signal input
flabel locali s 799 464 833 498 0 FreeSans 340 180 0 0 SCD
port 3 nsew signal input
flabel locali s 319 316 353 350 0 FreeSans 340 180 0 0 SCE
port 4 nsew signal input
flabel locali s 223 316 257 350 0 FreeSans 340 180 0 0 SCE
port 4 nsew signal input
flabel locali s 127 316 161 350 0 FreeSans 340 180 0 0 SCE
port 4 nsew signal input
flabel locali s 895 242 929 276 0 FreeSans 340 180 0 0 CLK
port 1 nsew clock input
flabel locali s 2911 316 2945 350 0 FreeSans 340 180 0 0 Q
port 9 nsew signal output
flabel locali s 2815 316 2849 350 0 FreeSans 340 180 0 0 Q
port 9 nsew signal output
<< properties >>
string FIXED_BBOX 0 0 2976 814
string GDS_END 672124
string GDS_FILE $PDKPATH/libs.ref/sky130_fd_sc_hvl/gds/sky130_fd_sc_hvl.gds
string GDS_START 643136
string LEFclass CORE
string LEFsite unithv
string LEFsymmetry X Y
<< end >>
